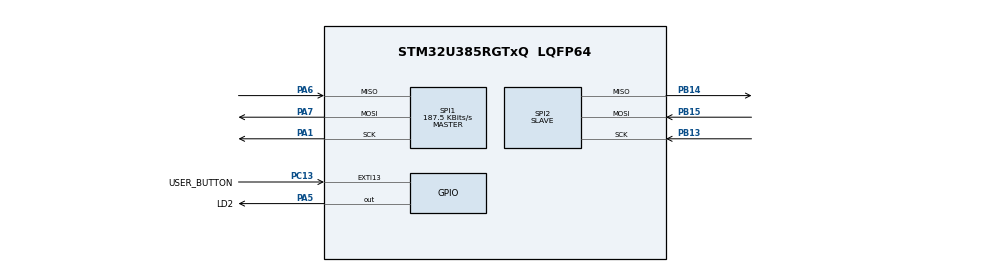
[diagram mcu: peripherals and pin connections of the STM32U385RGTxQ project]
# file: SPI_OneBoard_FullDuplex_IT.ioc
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CORTEX_M33_NS.userName=CORTEX_M33
Mcu.Family=STM32U3
Mcu.Name=STM32U385RGTxQ
Mcu.Package=LQFP64
Mcu.UserConstants=SLAVE_OWN_ADDRESS,180
NVIC.EXTI13_IRQn=true\:0\:0\:false\:false\:true\:true\:true\:true
NVIC.PriorityGroup=NVIC_PRIORITYGROUP_4
NVIC.SPI1_IRQn=true\:0\:0\:false\:false\:true\:true\:true\:true
NVIC.SPI2_IRQn=true\:0\:0\:false\:false\:true\:true\:true\:true
PA1.GPIO_PuPd=GPIO_PULLDOWN
PA1.GPIO_Speed=GPIO_SPEED_FREQ_HIGH
PA1.Mode=Full_Duplex_Master
PA1.Signal=SPI1_SCK
PA5.GPIO_Label=LD2
PA5.Signal=GPIO_Output
PA6.GPIO_PuPd=GPIO_PULLDOWN
PA6.GPIO_Speed=GPIO_SPEED_FREQ_HIGH
PA6.Mode=Full_Duplex_Master
PA6.Signal=SPI1_MISO
PA7.GPIO_PuPd=GPIO_PULLDOWN
PA7.GPIO_Speed=GPIO_SPEED_FREQ_HIGH
PA7.Mode=Full_Duplex_Master
PA7.Signal=SPI1_MOSI
PB13.GPIO_PuPd=GPIO_PULLDOWN
PB13.GPIO_Speed=GPIO_SPEED_FREQ_HIGH
PB13.Mode=Full_Duplex_Slave
PB13.Signal=SPI2_SCK
PB14.GPIO_PuPd=GPIO_PULLDOWN
PB14.GPIO_Speed=GPIO_SPEED_FREQ_HIGH
PB14.Mode=Full_Duplex_Slave
PB14.Signal=SPI2_MISO
PB15.GPIO_PuPd=GPIO_PULLDOWN
PB15.GPIO_Speed=GPIO_SPEED_FREQ_HIGH
PB15.Mode=Full_Duplex_Slave
PB15.Signal=SPI2_MOSI
PC13.GPIO_Label=USER_BUTTON
PC13.GPIO_ModeDefaultEXTI=GPIO_MODE_IT_FALLING
PC13.GPIO_PuPd=GPIO_NOPULL
PC13.Signal=GPXTI13
ProjectManager.HeapSize=0x200
ProjectManager.StackSize=0x400
ProjectManager.TargetToolchain=EWARM V9.20
RCC.ADCFreq_Value=96000000
RCC.AHBFreq_Value=96000000
RCC.APB1CLKDivider=RCC_HCLK_DIV2
RCC.APB1Freq_Value=48000000
RCC.APB1TimFreq_Value=96000000
RCC.APB2CLKDivider=RCC_HCLK_DIV2
RCC.APB2Freq_Value=48000000
RCC.APB2TimFreq_Value=96000000
RCC.APB3CLKDivider=RCC_HCLK_DIV2
RCC.APB3Freq_Value=48000000
RCC.CortexFreq_Value=12000000
RCC.HCLKFreq_Value=96000000
RCC.HSE_VALUE=16000000
RCC.HSI48_VALUE=48000000
RCC.HSI_VALUE=16000000
RCC.LSE_VALUE=32768
RCC.LSIDIV_VALUE=32000
RCC.MSISDIV=RCC_MSI_DIV1
RCC.SYSCLKFreq_VALUE=96000000
RCC.USBFreq_Value=96000000
SPI1.BaudRatePrescaler=SPI_BAUDRATEPRESCALER_256
SPI1.CLKPhase=SPI_PHASE_2EDGE
SPI1.CalculateBaudRate=187.5 KBits/s
SPI1.DataSize=SPI_DATASIZE_8BIT
SPI1.Direction=SPI_DIRECTION_2LINES
SPI1.MasterKeepIOState=SPI_MASTER_KEEP_IO_STATE_ENABLE
SPI1.MasterReceiverAutoSusp=SPI_MASTER_RX_AUTOSUSP_ENABLE
SPI1.Mode=SPI_MODE_MASTER
SPI1.VirtualType=VM_MASTER
SPI2.CLKPhase=SPI_PHASE_2EDGE
SPI2.DataSize=SPI_DATASIZE_8BIT
SPI2.Direction=SPI_DIRECTION_2LINES
SPI2.Mode=SPI_MODE_SLAVE
SPI2.TriggerState=SPI_AUTO_MODE_DISABLE
SPI2.VirtualType=VM_SLAVE
VP_ICACHE_VS_ICACHE.Mode=DirectMappedCache
VP_PWR_VS_DBSignals.Mode=DisableDeadBatterySignals
VP_PWR_VS_LPOM.Mode=PowerOptimisation
VP_PWR_VS_SECSignals.Mode=Security/Privilege
board=custom

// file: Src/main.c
/* USER CODE BEGIN Header */
/**
  ******************************************************************************
  * @file           : main.c
  * @brief          : Main program body
  ******************************************************************************
  * @attention
  *
  * Copyright (c) 2024 STMicroelectronics.
  * All rights reserved.
  *
  * This software is licensed under terms that can be found in the LICENSE file
  * in the root directory of this software component.
  * If no LICENSE file comes with this software, it is provided AS-IS.
  *
  ******************************************************************************
  */
/* USER CODE END Header */
#include "main.h"

/* USER CODE BEGIN PV */
__IO uint8_t ubButtonPress = 0;

/* Buffer used for transmission */
uint8_t aTxBuffer[] = "**** SPI_OneBoard_FullDuplex_IT communication **** SPI_OneBoard_FullDuplex_IT communication **** SPI_OneBoard_FullDuplex_IT communication ****";
uint8_t ubNbDataToTransmit = sizeof(aTxBuffer);
__IO uint8_t SPI1_ubTransmitIndex = 0;
__IO uint8_t SPI2_ubTransmitIndex = 0;

/* Buffer used for reception */
uint8_t SPI1_aRxBuffer[sizeof(aTxBuffer)];
uint8_t SPI2_aRxBuffer[sizeof(aTxBuffer)];
uint8_t ubNbDataToReceive = sizeof(aTxBuffer);
__IO uint8_t SPI1_ubReceiveIndex = 0;
__IO uint8_t SPI2_ubReceiveIndex = 0;
/* USER CODE END PV */

void SystemClock_Config(void);
static void MX_GPIO_Init(void);
static void MX_ICACHE_Init(void);
static void MX_SPI1_Init(void);
static void MX_SPI2_Init(void);
/* USER CODE BEGIN PFP */
void     LED_On(void);
void     LED_Blinking(uint32_t Period);
void     LED_Off(void);
void     WaitForUserButtonPress(void);
void     WaitAndCheckEndOfTransfer(void);
uint8_t  Buffercmp8(uint8_t *pBuffer1, uint8_t *pBuffer2, uint8_t BufferLength);
/* USER CODE END PFP */

int main(void)
{

  /* MCU Configuration--------------------------------------------------------*/

  /* Reset of all peripherals, Initializes the Flash interface and the Systick. */

  /* System interrupt init*/
  NVIC_SetPriorityGrouping(NVIC_PRIORITYGROUP_4);

  /* SysTick_IRQn interrupt configuration */
  NVIC_SetPriority(SysTick_IRQn, NVIC_EncodePriority(NVIC_GetPriorityGrouping(),15, 0));

  /* Configure the system clock */
  SystemClock_Config();

  /* Initialize all configured peripherals */
  MX_GPIO_Init();
  MX_ICACHE_Init();
  MX_SPI1_Init();
  MX_SPI2_Init();
  /* USER CODE BEGIN 2 */
  /* Wait for User push-button press to start transfer */
  WaitForUserButtonPress();

  /* 1 - Start Master Transfer(SPI1) ******************************************/
  LL_SPI_StartMasterTransfer(SPI1);

  /* Wait for the end of the transfer and check received data */
  /* LED blinking FAST during waiting time */
  WaitAndCheckEndOfTransfer();

  /* USER CODE END 2 */

  /* Infinite loop */
  while (1)
  {

  }
}

void SystemClock_Config(void)
{
  /** Enable Epod Booster
  */
  LL_AHB1_GRP2_EnableClock(LL_AHB1_GRP2_PERIPH_PWR);
  LL_RCC_SetEPODBoosterClkSource(LL_RCC_EPODBOOSTCLKSRCE_MSIS);
  LL_RCC_SetEPODBoosterClkPrescaler(LL_RCC_EPODBOOSTCLKPRESCAL_1);
  LL_PWR_EnableEPODBooster();
  while(LL_PWR_IsActiveFlag_BOOST() != 1U)
  {
  }

  /** Configure the main internal regulator output voltage
  */
  LL_PWR_SetRegulVoltageScaling(LL_PWR_REGU_VOLTAGE_SCALE1);
  while(LL_PWR_GetRegulCurrentVOS() != LL_PWR_REGU_VOLTAGE_SCALE1)
  {
  }

  /** Set Flash latency before switching to MSIS
  */
  LL_FLASH_SetLatency(LL_FLASH_LATENCY_2);
  while(LL_FLASH_GetLatency() != LL_FLASH_LATENCY_2)
  {
  }

  /** Activate MSIS as source
  */
  LL_RCC_MSIS_SetClockSource(LL_RCC_MSIS_CLOCK_SOURCE_RC0);
  LL_RCC_MSIS_SetClockDivision(LL_RCC_MSIS_CLOCK_SOURCE_RC_DIV_1);
  LL_RCC_MSI_SetMSIxClockRange();
  LL_RCC_SetSysClkSource(LL_RCC_SYS_CLKSOURCE_MSIS);

  /** Wait till System clock is ready
  */
  while(LL_RCC_GetSysClkSource() != LL_RCC_SYS_CLKSOURCE_MSIS)
  {
  }

  LL_RCC_SetAHBPrescaler(LL_RCC_HCLK_SYSCLK_DIV_1);
  LL_RCC_SetAPB1Prescaler(LL_RCC_APB1_HCLK_DIV_2);
  LL_RCC_SetAPB2Prescaler(LL_RCC_APB2_HCLK_DIV_2);
  LL_RCC_SetAPB3Prescaler(LL_RCC_APB3_HCLK_DIV_2);

  LL_Init1msTick(96000000);

  LL_SetSystemCoreClock(96000000);
}

static void MX_ICACHE_Init(void)
{

  /** Enable instruction cache in 1-way (direct mapped cache)
  */
  LL_ICACHE_SetMode(LL_ICACHE_1WAY);
  LL_ICACHE_Enable();

}

static void MX_SPI1_Init(void)
{

  LL_SPI_InitTypeDef SPI_InitStruct = {0};

  LL_GPIO_InitTypeDef GPIO_InitStruct = {0};

  LL_RCC_SetSPIClockSource(LL_RCC_SPI1_CLKSOURCE_PCLK2);

  /* Peripheral clock enable */
  LL_APB2_GRP1_EnableClock(LL_APB2_GRP1_PERIPH_SPI1);

  LL_AHB2_GRP1_EnableClock(LL_AHB2_GRP1_PERIPH_GPIOA);
  /**SPI1 GPIO Configuration
  PA1   ------> SPI1_SCK
  PA6   ------> SPI1_MISO
  PA7   ------> SPI1_MOSI
  */
  GPIO_InitStruct.Pin = LL_GPIO_PIN_1|LL_GPIO_PIN_6|LL_GPIO_PIN_7;
  GPIO_InitStruct.Mode = LL_GPIO_MODE_ALTERNATE;
  GPIO_InitStruct.Speed = LL_GPIO_SPEED_FREQ_HIGH;
  GPIO_InitStruct.OutputType = LL_GPIO_OUTPUT_PUSHPULL;
  GPIO_InitStruct.Pull = LL_GPIO_PULL_DOWN;
  GPIO_InitStruct.Alternate = LL_GPIO_AF_5;
  LL_GPIO_Init(GPIOA, &GPIO_InitStruct);

  /* SPI1 interrupt Init */
  NVIC_SetPriority(SPI1_IRQn, NVIC_EncodePriority(NVIC_GetPriorityGrouping(),0, 0));
  NVIC_EnableIRQ(SPI1_IRQn);

  /* SPI1 parameter configuration*/
  SPI_InitStruct.TransferDirection = LL_SPI_FULL_DUPLEX;
  SPI_InitStruct.Mode = LL_SPI_MODE_MASTER;
  SPI_InitStruct.DataWidth = LL_SPI_DATAWIDTH_8BIT;
  SPI_InitStruct.ClockPolarity = LL_SPI_POLARITY_LOW;
  SPI_InitStruct.ClockPhase = LL_SPI_PHASE_2EDGE;
  SPI_InitStruct.NSS = LL_SPI_NSS_SOFT;
  SPI_InitStruct.BaudRate = LL_SPI_BAUDRATEPRESCALER_DIV256;
  SPI_InitStruct.BitOrder = LL_SPI_MSB_FIRST;
  SPI_InitStruct.CRCCalculation = LL_SPI_CRCCALCULATION_DISABLE;
  SPI_InitStruct.CRCPoly = 0x7;
  LL_SPI_Init(SPI1, &SPI_InitStruct);
  LL_SPI_SetStandard(SPI1, LL_SPI_PROTOCOL_MOTOROLA);
  LL_SPI_DisableNSSPulseMgt(SPI1);
  /* USER CODE BEGIN SPI1_Init 2 */
  /* Lock GPIO for master to avoid glitches on the clock output */
  LL_SPI_EnableGPIOControl(SPI1);
  LL_SPI_EnableMasterRxAutoSuspend(SPI1);

  /* Set number of data to transmit */
  LL_SPI_SetTransferSize(SPI1, ubNbDataToTransmit);

  /* Enable SPI1 */
  LL_SPI_Enable(SPI1);

  /* Enable TXP Interrupt */
  LL_SPI_EnableIT_TXP(SPI1);

  /* Enable RXP Interrupt */
  LL_SPI_EnableIT_RXP(SPI1);

  /* Enable SPI Errors Interrupt */
  LL_SPI_EnableIT_CRCERR(SPI1);
  LL_SPI_EnableIT_UDR(SPI1);
  LL_SPI_EnableIT_OVR(SPI1);
  LL_SPI_EnableIT_EOT(SPI1);
  /* USER CODE END SPI1_Init 2 */

}

static void MX_SPI2_Init(void)
{

  LL_SPI_InitTypeDef SPI_InitStruct = {0};

  LL_GPIO_InitTypeDef GPIO_InitStruct = {0};

  LL_RCC_SetSPIClockSource(LL_RCC_SPI2_CLKSOURCE_PCLK1);

  /* Peripheral clock enable */
  LL_APB1_GRP1_EnableClock(LL_APB1_GRP1_PERIPH_SPI2);

  LL_AHB2_GRP1_EnableClock(LL_AHB2_GRP1_PERIPH_GPIOB);
  /**SPI2 GPIO Configuration
  PB13   ------> SPI2_SCK
  PB14   ------> SPI2_MISO
  PB15   ------> SPI2_MOSI
  */
  GPIO_InitStruct.Pin = LL_GPIO_PIN_13|LL_GPIO_PIN_14|LL_GPIO_PIN_15;
  GPIO_InitStruct.Mode = LL_GPIO_MODE_ALTERNATE;
  GPIO_InitStruct.Speed = LL_GPIO_SPEED_FREQ_HIGH;
  GPIO_InitStruct.OutputType = LL_GPIO_OUTPUT_PUSHPULL;
  GPIO_InitStruct.Pull = LL_GPIO_PULL_DOWN;
  GPIO_InitStruct.Alternate = LL_GPIO_AF_5;
  LL_GPIO_Init(GPIOB, &GPIO_InitStruct);

  /* SPI2 interrupt Init */
  NVIC_SetPriority(SPI2_IRQn, NVIC_EncodePriority(NVIC_GetPriorityGrouping(),0, 0));
  NVIC_EnableIRQ(SPI2_IRQn);

  /* SPI2 parameter configuration*/
  SPI_InitStruct.TransferDirection = LL_SPI_FULL_DUPLEX;
  SPI_InitStruct.Mode = LL_SPI_MODE_SLAVE;
  SPI_InitStruct.DataWidth = LL_SPI_DATAWIDTH_8BIT;
  SPI_InitStruct.ClockPolarity = LL_SPI_POLARITY_LOW;
  SPI_InitStruct.ClockPhase = LL_SPI_PHASE_2EDGE;
  SPI_InitStruct.NSS = LL_SPI_NSS_SOFT;
  SPI_InitStruct.BitOrder = LL_SPI_MSB_FIRST;
  SPI_InitStruct.CRCCalculation = LL_SPI_CRCCALCULATION_DISABLE;
  SPI_InitStruct.CRCPoly = 0x7;
  LL_SPI_Init(SPI2, &SPI_InitStruct);
  LL_SPI_SetStandard(SPI2, LL_SPI_PROTOCOL_MOTOROLA);
  LL_SPI_DisableNSSPulseMgt(SPI2);
  /* USER CODE BEGIN SPI2_Init 2 */
  /* Lock GPIO for master to avoid glitches on the clock output */
  LL_SPI_DisableGPIOControl(SPI2);
  LL_SPI_DisableMasterRxAutoSuspend(SPI2);

  /* Set number of data to transmit */
  LL_SPI_SetTransferSize(SPI2, ubNbDataToTransmit);

  /* Enable SPI2 */
  LL_SPI_Enable(SPI2);

  /* Enable TXP Interrupt */
  LL_SPI_EnableIT_TXP(SPI2);
  /* Enable RXP Interrupt */
  LL_SPI_EnableIT_RXP(SPI2);

  /* Enable SPI Errors Interrupt */
  LL_SPI_EnableIT_CRCERR(SPI2);
  LL_SPI_EnableIT_UDR(SPI2);
  LL_SPI_EnableIT_OVR(SPI2);
  LL_SPI_EnableIT_EOT(SPI2);
  /* USER CODE END SPI2_Init 2 */

}

static void MX_GPIO_Init(void)
{
  LL_EXTI_InitTypeDef EXTI_InitStruct = {0};
  LL_GPIO_InitTypeDef GPIO_InitStruct = {0};

  /* GPIO Ports Clock Enable */
  LL_AHB2_GRP1_EnableClock(LL_AHB2_GRP1_PERIPH_GPIOC);
  LL_AHB2_GRP1_EnableClock(LL_AHB2_GRP1_PERIPH_GPIOA);
  LL_AHB2_GRP1_EnableClock(LL_AHB2_GRP1_PERIPH_GPIOB);

  /**/
  LL_GPIO_ResetOutputPin(LD2_GPIO_Port, LD2_Pin);

  /**/
  LL_EXTI_SetEXTISource(LL_EXTI_CONFIG_PORTC, LL_EXTI_CONFIG_LINE13);

  /**/
  EXTI_InitStruct.Line_0_31 = LL_EXTI_LINE_13;
  EXTI_InitStruct.LineCommand = ENABLE;
  EXTI_InitStruct.Mode = LL_EXTI_MODE_IT;
  EXTI_InitStruct.Trigger = LL_EXTI_TRIGGER_FALLING;
  LL_EXTI_Init(&EXTI_InitStruct);

  /**/
  LL_GPIO_SetPinPull(USER_BUTTON_GPIO_Port, USER_BUTTON_Pin, LL_GPIO_PULL_NO);

  /**/
  LL_GPIO_SetPinMode(USER_BUTTON_GPIO_Port, USER_BUTTON_Pin, LL_GPIO_MODE_INPUT);

  /**/
  GPIO_InitStruct.Pin = LD2_Pin;
  GPIO_InitStruct.Mode = LL_GPIO_MODE_OUTPUT;
  GPIO_InitStruct.Speed = LL_GPIO_SPEED_FREQ_LOW;
  GPIO_InitStruct.OutputType = LL_GPIO_OUTPUT_PUSHPULL;
  GPIO_InitStruct.Pull = LL_GPIO_PULL_NO;
  LL_GPIO_Init(LD2_GPIO_Port, &GPIO_InitStruct);

  /* EXTI interrupt init*/
  NVIC_SetPriority(EXTI13_IRQn, NVIC_EncodePriority(NVIC_GetPriorityGrouping(),0, 0));
  NVIC_EnableIRQ(EXTI13_IRQn);

}

/* USER CODE BEGIN 4 */
/**
  * @brief  Turn-on LED2.
  * @param  None
  * @retval None
  */
void LED_On(void)
{
  /* Turn LED2 on */
  LL_GPIO_SetOutputPin(LD2_GPIO_Port, LD2_Pin);
}

/**
  * @brief  Turn-off LED2.
  * @param  None
  * @retval None
  */
void LED_Off(void)
{
  /* Turn LED2 off */
  LL_GPIO_ResetOutputPin(LD2_GPIO_Port, LD2_Pin);
}

/**
  * @brief  Set LED2 to Blinking mode for an infinite loop (toggle period based on value provided as input parameter).
  * @param  Period : Period of time (in ms) between each toggling of LED
  *   This parameter can be user defined values. Pre-defined values used in that example are :
  *     @arg LED_BLINK_FAST : Fast Blinking
  *     @arg LED_BLINK_SLOW : Slow Blinking
  *     @arg LED_BLINK_ERROR : Error specific Blinking
  * @retval None
  */
void LED_Blinking(uint32_t Period)
{
  /* Toggle LED2 in an infinite loop */
  while (1)
  {
    LL_GPIO_TogglePin(LD2_GPIO_Port, LD2_Pin);
    LL_mDelay(Period);
  }
}

/**
  * @brief  Wait for User push-button press to start transfer.
  * @param  None
  * @retval None
  */
void WaitForUserButtonPress(void)
{
  while (ubButtonPress == 0)
  {
    LL_GPIO_TogglePin(LD2_GPIO_Port, LD2_Pin);
    LL_mDelay(LED_BLINK_FAST);
  }
  /* Ensure that LED2 is turned Off */
  LED_Off();
}

/**
  * @brief  Wait end of transfer and check if received Data are well.
  * @param  None
  * @retval None
  */
void WaitAndCheckEndOfTransfer(void)
{
  /* 1 - Wait end of transmission : SPI1 to SPI2 */
  while (SPI1_ubTransmitIndex != ubNbDataToTransmit)
  {
  }
  /* Disable TXP Interrupt */
  LL_SPI_DisableIT_TXP(SPI1);

  /* 2 - Wait end of transmission : SPI2 to SPI1 */
  while (SPI2_ubTransmitIndex != ubNbDataToTransmit)
  {
  }
  /* Disable TXP Interrupt */
  LL_SPI_DisableIT_TXP(SPI2);

  /* 3 - Wait end of reception : SPI1 from SPI2 */
  while (ubNbDataToReceive > SPI1_ubReceiveIndex)
  {
  }
  /* Disable RXP Interrupt */
  LL_SPI_DisableIT_RXP(SPI1);

  /* 4 - Wait end of reception : SPI2 from SPI1 */
  while (ubNbDataToReceive > SPI2_ubReceiveIndex)
  {
  }
  /* Disable RXP Interrupt */
  LL_SPI_DisableIT_RXP(SPI2);

  /* 5 - Compare Transmit data to receive data in SPI1 and SPI2 */
  if ((Buffercmp8((uint8_t *)aTxBuffer, (uint8_t *)SPI1_aRxBuffer, ubNbDataToTransmit))
      || (Buffercmp8((uint8_t *)aTxBuffer, (uint8_t *)SPI2_aRxBuffer, ubNbDataToTransmit)))
  {
    /* Processing Error */
    LED_Blinking(LED_BLINK_ERROR);
  }
  else
  {
    /* Turn On Led if data are well received */
    LED_On();
  }
}

/**
  * @brief Compares two 8-bit buffers and returns the comparison result.
  * @param pBuffer1: pointer to the source buffer to be compared to.
  * @param pBuffer2: pointer to the second source buffer to be compared to the first.
  * @param BufferLength: buffer's length.
  * @retval   0: Comparison is OK (the two Buffers are identical)
  *           Value different from 0: Comparison is NOK (Buffers are different)
  */
uint8_t Buffercmp8(uint8_t *pBuffer1, uint8_t *pBuffer2, uint8_t BufferLength)
{
  while (BufferLength--)
  {
    if (*pBuffer1 != *pBuffer2)
    {
      return 1;
    }

    pBuffer1++;
    pBuffer2++;
  }

  return 0;
}

/******************************************************************************/
/*   USER IRQ HANDLER TREATMENT Functions                                     */
/******************************************************************************/
/**
  * @brief  Function to manage User push-button
  * @param  None
  * @retval None
  */
void UserButton_Callback(void)
{
  /* Update User push-button variable : to be checked in waiting loop in main program */
  ubButtonPress = 1;
}

/**
  * @brief  Function called from SPI1 IRQ Handler when RXP flag is set
  *         Function is in charge of retrieving received byte from SPI1 lines.
  * @param  None
  * @retval None
  */
void  SPI1_Rx_Callback(void)
{
  /* Read character in Data register.
  RXP flag is cleared by reading data in DR register */
  SPI1_aRxBuffer[SPI1_ubReceiveIndex++] = LL_SPI_ReceiveData8(SPI1);
}

/**
  * @brief  Function called from SPI1 IRQ Handler when TXP flag is set
  *         Function is in charge  to transmit byte on SPI1 lines.
  * @param  None
  * @retval None
  */
void  SPI1_Tx_Callback(void)
{
  /* Write character in Data register.
  TXP flag is cleared by reading data in DR register */
  LL_SPI_TransmitData8(SPI1, aTxBuffer[SPI1_ubTransmitIndex++]);
}

/**
  * @brief  Function called in case of error detected in SPI1 IT Handler
  * @param  None
  * @retval None
  */
void SPI1_TransferError_Callback(void)
{
  /* Disable RXP  Interrupt             */
  LL_SPI_DisableIT_RXP(SPI1);

  /* Disable TXP   Interrupt             */
  LL_SPI_DisableIT_TXP(SPI1);

  /* Set LED2 to Blinking mode to indicate error occurs */
  LED_Blinking(LED_BLINK_ERROR);
}

/**
  * @brief  Function called from SPI1 IRQ Handler when EOT flag is set
  *         Function is in charge of transfer close down.
  * @param  None
  * @retval None
  */
void  SPI1_EOT_Callback(void)
{
  LL_SPI_Disable(SPI1);
  LL_SPI_DisableIT_TXP(SPI1);
  LL_SPI_DisableIT_RXP(SPI1);
  LL_SPI_DisableIT_CRCERR(SPI1);
  LL_SPI_DisableIT_OVR(SPI1);
  LL_SPI_DisableIT_UDR(SPI1);
  LL_SPI_DisableIT_EOT(SPI1);
}

/**
  * @brief  Function called from SPI2 IRQ Handler when RXP flag is set
  *         Function is in charge of retrieving received byte from SPI2 lines.
  * @param  None
  * @retval None
  */
void  SPI2_Rx_Callback(void)
{
  /* Read character in Data register.
  RXP flag is cleared by reading data in DR register */
  SPI2_aRxBuffer[SPI2_ubReceiveIndex++] = LL_SPI_ReceiveData8(SPI2);
}

/**
  * @brief  Function called from SPI2 IRQ Handler when TXP flag is set
  *         Function is in charge  to transmit byte on SPI2 lines.
  * @param  None
  * @retval None
  */
void  SPI2_Tx_Callback(void)
{
  /* Write character in Data register.
  TXP flag is cleared by reading data in DR register */
  LL_SPI_TransmitData8(SPI2, aTxBuffer[SPI2_ubTransmitIndex++]);
}

/**
  * @brief  Function called in case of error detected in SPI2 IT Handler
  * @param  None
  * @retval None
  */
void SPI2_TransferError_Callback(void)
{
  /* Disable RXP  Interrupt             */
  LL_SPI_DisableIT_RXP(SPI2);

  /* Disable TXP   Interrupt             */
  LL_SPI_DisableIT_TXP(SPI2);

  /* Set LED2 to Blinking mode to indicate error occurs */
  LED_Blinking(LED_BLINK_ERROR);
}

/**
  * @brief  Function called from SPI2 IRQ Handler when EOT flag is set
  *         Function is in charge of transfer close down.
  * @param  None
  * @retval None
  */
void  SPI2_EOT_Callback(void)
{
  LL_SPI_Disable(SPI2);
  LL_SPI_DisableIT_TXP(SPI2);
  LL_SPI_DisableIT_RXP(SPI2);
  LL_SPI_DisableIT_CRCERR(SPI2);
  LL_SPI_DisableIT_OVR(SPI2);
  LL_SPI_DisableIT_UDR(SPI2);
  LL_SPI_DisableIT_EOT(SPI2);
}
/* USER CODE END 4 */

void Error_Handler(void)
{
  __disable_irq();
  while (1)
  {
  }
}
